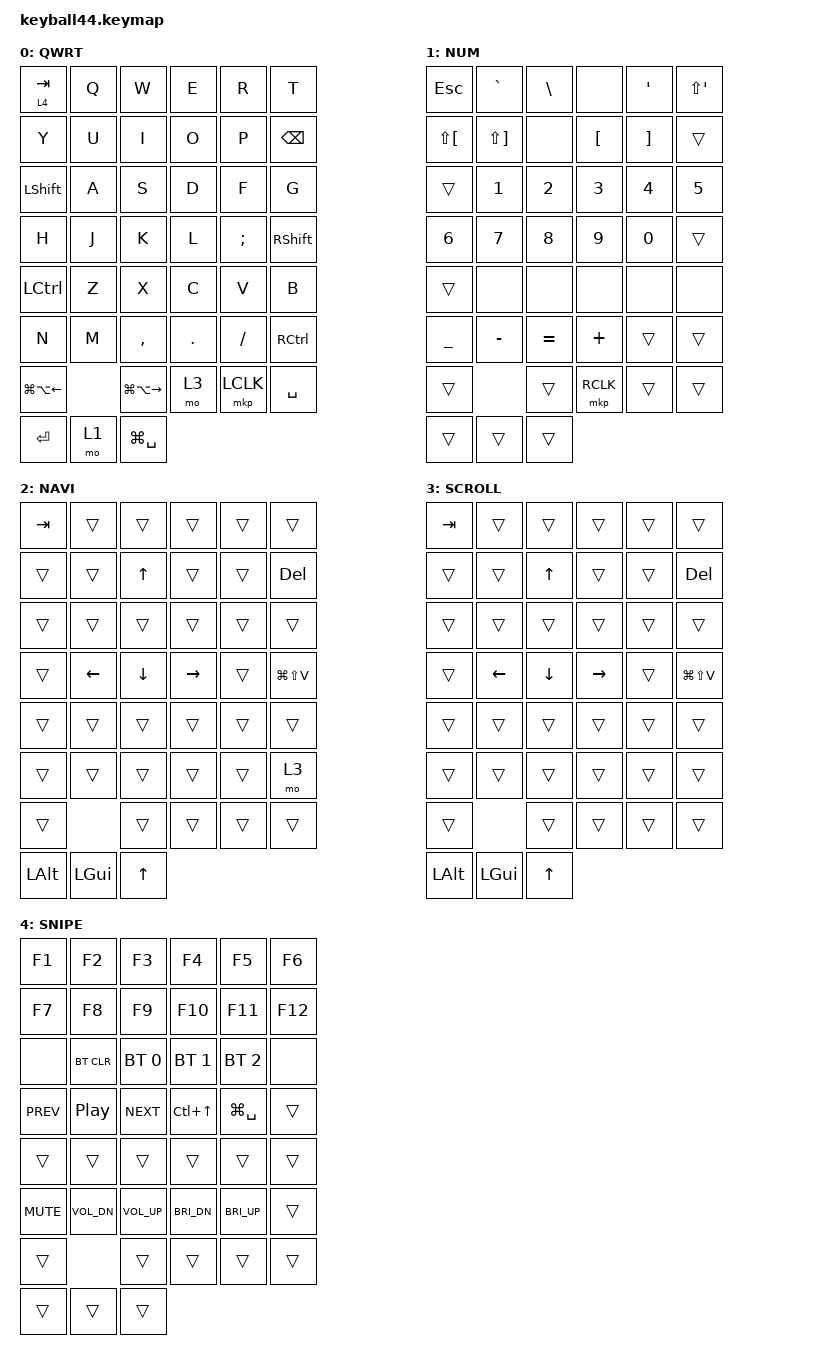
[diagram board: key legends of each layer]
#define DEFAULT 0
#define NUM     1
#define NAVI    2
#define SCROLL  3
#define SNIPE   4

#include <behaviors/mouse_keys.dtsi>
#include <behaviors.dtsi>
#include <dt-bindings/zmk/bt.h>
#include <dt-bindings/zmk/keys.h>
#include <dt-bindings/zmk/hid_usage.h>
#include <dt-bindings/zmk/mouse.h>

&nice_view_spi { cs-gpios = <&pro_micro 1 GPIO_ACTIVE_HIGH>; };

&lt {
    tapping-term-ms = <240>;
    flavor = "hold-preferred";
    quick-tap-ms = <0>;
};

&mt {
    tapping-term-ms = <100>;
    flavor = "tap-preferred";
    quick-tap-ms = <75>;
};

&caps_word { continue-list = <UNDERSCORE MINUS>; };

/ {
    keymap {
        compatible = "zmk,keymap";

        default_layer {
            label = "QWRT";
            bindings = <
                &lt 4 TAB       &kp Q        &kp W        &kp E        &kp R        &kp T
                &kp Y           &kp U        &kp I        &kp O        &kp P        &kp BACKSPACE

                &kp LEFT_SHIFT  &kp A        &kp S        &kp D        &kp F        &kp G
                &kp H           &kp J        &kp K        &kp L        &kp SEMI     &kp RIGHT_SHIFT

                &kp LCTRL       &kp Z        &kp X        &kp C        &kp V        &kp B
                &kp N           &kp M        &kp COMMA    &kp DOT      &kp SLASH    &kp RCTRL

                &kp LG(LA(LEFT))        &kp LG(LA(RIGHT))     &mo 3     &mkp LCLK       &kp SPACE
                &kp ENTER       &mo 1        &kp LG(SPACE)
            >;
        };

        number_layer {
            label = "NUM";
            bindings = <
                &kp ESC              &kp GRAVE             &kp BACKSLASH  &none             &kp APOSTROPHE        &kp LS(APOSTROPHE)
                &kp LS(LEFT_BRACKET) &kp LS(RIGHT_BRACKET) &none          &kp LEFT_BRACKET  &kp RIGHT_BRACKET     &trans

                &trans               &kp NUMBER_1          &kp NUMBER_2   &kp NUMBER_3      &kp NUMBER_4          &kp NUMBER_5
                &kp NUMBER_6         &kp NUMBER_7          &kp NUMBER_8   &kp NUMBER_9      &kp NUMBER_0          &trans

                &trans               &none                 &none          &none             &none                 &none
                &kp UNDERSCORE       &kp MINUS             &kp EQUAL      &kp PLUS          &trans                &trans

                &trans               &trans                &mkp RCLK         &trans            &trans
                &trans               &trans                &trans
            >;
        };

        mouse_layer {
            label = "NAVI";
            bindings = <
                &kp TAB         &trans          &trans       &trans       &trans       &trans
                &trans          &trans        &kp UP       &trans          &trans            &kp DELETE

                &trans          &trans       &trans       &trans       &trans           &trans
                &trans           &kp LEFT     &kp DOWN     &kp RIGHT    &trans            &kp LG(LS(V))

                &trans          &trans       &trans       &trans       &trans           &trans
                &trans          &trans       &trans       &trans       &trans            &mo 3

                &trans          &trans       &trans       &trans       &trans
                &kp LALT   &kp LGUI     &kp UP
            >;
        };

        scroll_layer {
            label = "SCROLL";
            bindings = <
                &kp TAB         &trans          &trans       &trans       &trans       &trans
                &trans          &trans        &kp UP       &trans          &trans            &kp DELETE

                &trans          &trans       &trans       &trans       &trans           &trans
                &trans           &kp LEFT     &kp DOWN     &kp RIGHT    &trans            &kp LG(LS(V))

                &trans          &trans       &trans       &trans       &trans           &trans
                &trans          &trans       &trans       &trans       &trans           &trans

                &trans          &trans       &trans       &trans       &trans
                &kp LALT   &kp LGUI     &kp UP
            >;
        };

        snipe_layer {
            label = "SNIPE";
            bindings = <
                &kp F1      &kp F2       &kp F3           &kp F4           &kp F5           &kp F6
                &kp F7      &kp F8       &kp F9           &kp F10          &kp F11          &kp F12

                &none       &bt BT_CLR   &bt BT_SEL 0     &bt BT_SEL 1     &bt BT_SEL 2     &none
                &kp C_PREV  &kp C_PP     &kp C_NEXT       &kp LC(UP)       &kp LG(SPACE)    &trans

                &trans      &trans       &trans           &trans           &trans           &trans
                &kp C_MUTE  &kp C_VOL_DN &kp C_VOL_UP     &kp C_BRI_DN     &kp C_BRI_UP     &trans

                &trans      &trans       &trans           &trans           &trans
                &trans      &trans       &trans
            >;
        };
    };
};
